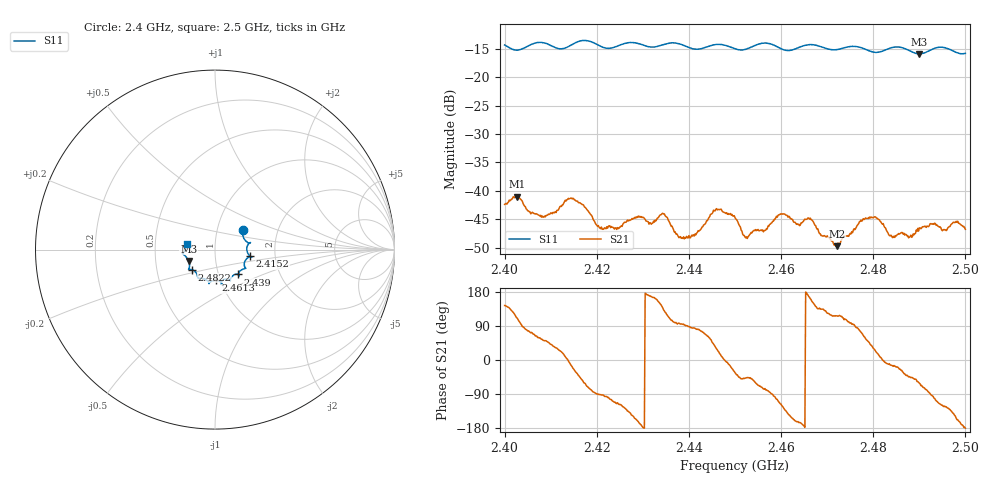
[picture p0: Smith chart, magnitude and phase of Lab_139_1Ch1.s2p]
# Hz S RI R 50
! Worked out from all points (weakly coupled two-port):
!   601 points, 2.4 GHz to 2.5 GHz, reference 50 ohm
!   highest |S21| = -41.00 dB at 2.4027 GHz (marker M1); lowest = -49.7 dB at 2.4722 GHz (marker M2)
!   lowest |S11| = -15.9 dB at 2.49 GHz (marker M3), VSWR 1.38, Z = 36.9 - j4.81 ohm
!   |S11| at or under -10 dB: start of sweep to end of sweep
!   S12 and S22 are empty: the file has one direction only
!   S11 on the Smith chart (normalised r, x): 2.4 GHz: 1.33, +0.31; 2.4152 GHz: 1.48, -0.11; 2.439 GHz: 1.24, -0.36; 2.4613 GHz: 0.96, -0.34; 2.4822 GHz: 0.76, -0.17; 2.5 GHz: 0.73, +0.05
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2.4e9  0.1559 0.1111  -0.00615 0.00449  0 0  0 0
2.402667e9  0.159 0.0664  -0.00323 0.00831  0 0  0 0
2.408333e9  0.1967 0.0393  0.00362 0.00465  0 0  0 0
2.415167e9  0.1948 -0.0361  0.00741 -0.0038  0 0  0 0
2.416667e9  0.2044 -0.042  0.00488 -0.00596  0 0  0 0
2.421e9  0.1785 -0.0488  -0.000161 -0.00482  0 0  0 0
2.433333e9  0.1324 -0.1321  -0.00525 0.00251  0 0  0 0
2.434833e9  0.1317 -0.1435  -0.00357 0.00491  0 0  0 0
2.439e9  0.1282 -0.1387  -0.000141 0.00379  0 0  0 0
2.445833e9  0.0851 -0.1734  0.00581 0.0037  0 0  0 0
2.45e9  0.0686 -0.1637  0.00486 -0.00322  0 0  0 0
2.4525e9  0.0421 -0.1713  0.00271 -0.00288  0 0  0 0
2.456667e9  0.0391 -0.1952  0.000871 -0.00444  0 0  0 0
2.461333e9  0.00713 -0.1709  -0.00459 -0.00399  0 0  0 0
2.463667e9  -0.0244 -0.1792  -0.00484 -0.00152  0 0  0 0
2.466667e9  -0.0337 -0.1898  -0.00506 0.00233  0 0  0 0
2.472167e9  -0.0675 -0.1607  -0.00145 0.00293  0 0  0 0
2.477833e9  -0.0965 -0.1503  0.00242 0.00517  0 0  0 0
2.482167e9  -0.1281 -0.1117  0.00517 -0.000133  0 0  0 0
2.483333e9  -0.1393 -0.11  0.00406 -0.000818  0 0  0 0
2.49e9  -0.1466 -0.0635  0.0023 -0.00414  0 0  0 0
2.5e9  -0.1579 0.0333  -0.0046 -7.11e-06  0 0  0 0
